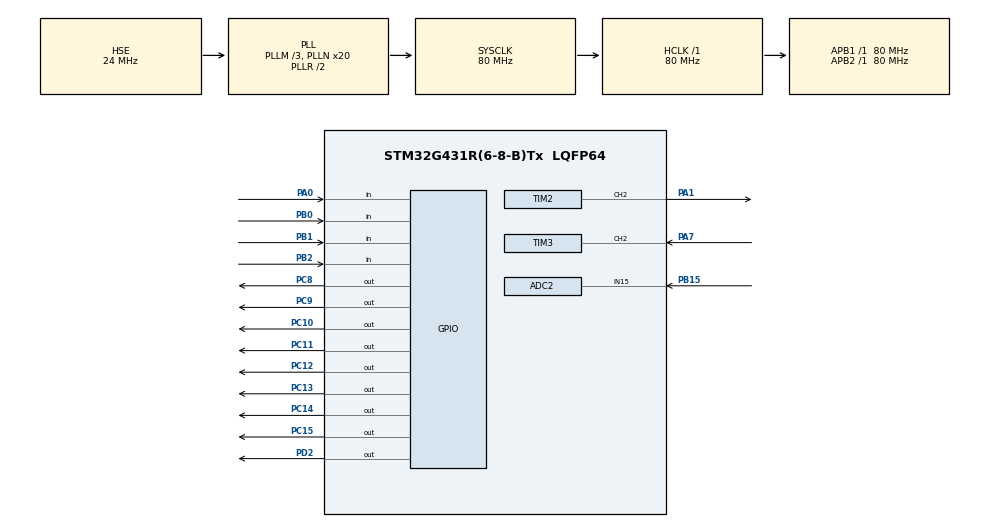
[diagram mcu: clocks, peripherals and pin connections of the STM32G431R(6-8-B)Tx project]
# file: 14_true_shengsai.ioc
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ADC2.Channel-0\#ChannelRegularConversion=ADC_CHANNEL_15
ADC2.ContinuousConvMode=ENABLE
ADC2.DMAContinuousRequests=ENABLE
ADC2.NbrOfConversionFlag=1
ADC2.OffsetNumber-0\#ChannelRegularConversion=ADC_OFFSET_NONE
ADC2.Rank-0\#ChannelRegularConversion=1
ADC2.SamplingTime-0\#ChannelRegularConversion=ADC_SAMPLETIME_2CYCLES_5
Dma.ADC2.0.Direction=DMA_PERIPH_TO_MEMORY
Dma.ADC2.0.EventEnable=DISABLE
Dma.ADC2.0.Instance=DMA1_Channel1
Dma.ADC2.0.MemDataAlignment=DMA_MDATAALIGN_HALFWORD
Dma.ADC2.0.MemInc=DMA_MINC_ENABLE
Dma.ADC2.0.Mode=DMA_CIRCULAR
Dma.ADC2.0.PeriphDataAlignment=DMA_PDATAALIGN_HALFWORD
Dma.ADC2.0.PeriphInc=DMA_PINC_DISABLE
Dma.ADC2.0.Polarity=HAL_DMAMUX_REQ_GEN_RISING
Dma.ADC2.0.Priority=DMA_PRIORITY_LOW
Dma.ADC2.0.RequestNumber=1
Dma.ADC2.0.SignalID=NONE
Dma.ADC2.0.SyncEnable=DISABLE
Dma.ADC2.0.SyncPolarity=HAL_DMAMUX_SYNC_NO_EVENT
Dma.ADC2.0.SyncRequestNumber=1
Dma.ADC2.0.SyncSignalID=NONE
Dma.Request0=ADC2
Mcu.Family=STM32G4
Mcu.Name=STM32G431R(6-8-B)Tx
Mcu.Package=LQFP64
NVIC.PriorityGroup=NVIC_PRIORITYGROUP_4
NVIC.TIM3_IRQn=true\:0\:0\:false\:false\:true\:true\:true\:true
NVIC.TIM4_IRQn=true\:0\:0\:false\:false\:true\:true\:true\:true
PA0.Signal=GPIO_Input
PA1.Signal=S_TIM2_CH2
PA13.Mode=Serial_Wire
PA13.Signal=SYS_JTMS-SWDIO
PA14.Mode=Serial_Wire
PA14.Signal=SYS_JTCK-SWCLK
PA7.Signal=S_TIM3_CH2
PB0.Signal=GPIO_Input
PB1.Signal=GPIO_Input
PB15.Mode=IN15-Single-Ended
PB15.Signal=ADC2_IN15
PB2.Signal=GPIO_Input
PC10.PinState=GPIO_PIN_SET
PC10.Signal=GPIO_Output
PC11.PinState=GPIO_PIN_SET
PC11.Signal=GPIO_Output
PC12.PinState=GPIO_PIN_SET
PC12.Signal=GPIO_Output
PC13.PinState=GPIO_PIN_SET
PC13.Signal=GPIO_Output
PC14-OSC32_IN.PinState=GPIO_PIN_SET
PC14-OSC32_IN.Signal=GPIO_Output
PC15-OSC32_OUT.PinState=GPIO_PIN_SET
PC15-OSC32_OUT.Signal=GPIO_Output
PC8.PinState=GPIO_PIN_SET
PC8.Signal=GPIO_Output
PC9.PinState=GPIO_PIN_SET
PC9.Signal=GPIO_Output
PD2.Signal=GPIO_Output
PF0-OSC_IN.Mode=HSE-External-Oscillator
PF0-OSC_IN.Signal=RCC_OSC_IN
PF1-OSC_OUT.Mode=HSE-External-Oscillator
PF1-OSC_OUT.Signal=RCC_OSC_OUT
ProjectManager.HeapSize=0x200
ProjectManager.StackSize=0x400
ProjectManager.TargetToolchain=MDK-ARM V5.32
RCC.ADC12Freq_Value=80000000
RCC.AHBFreq_Value=80000000
RCC.APB1Freq_Value=80000000
RCC.APB1TimFreq_Value=80000000
RCC.APB2Freq_Value=80000000
RCC.APB2TimFreq_Value=80000000
RCC.CortexFreq_Value=80000000
RCC.EXTERNAL_CLOCK_VALUE=12288000
RCC.HCLKFreq_Value=80000000
RCC.HSE_VALUE=24000000
RCC.HSI48_VALUE=48000000
RCC.HSI_VALUE=16000000
RCC.LSE_VALUE=32768
RCC.PLLM=RCC_PLLM_DIV3
RCC.PLLN=20
RCC.PLLSourceVirtual=RCC_PLLSOURCE_HSE
RCC.SYSCLKFreq_VALUE=80000000
RCC.SYSCLKSource=RCC_SYSCLKSOURCE_PLLCLK
RCC.USBFreq_Value=80000000
RCC.VCOOutputFreq_Value=160000000
SH.S_TIM2_CH2.0=TIM2_CH2,PWM Generation2 CH2
SH.S_TIM3_CH2.0=TIM3_CH2,Input_Capture2_from_TI2
TIM2.Channel-PWM\ Generation2\ CH2=TIM_CHANNEL_2
TIM2.PeriodNoDither=20000 - 1
TIM2.Prescaler=1 - 1
TIM2.PulseNoDither_2=10000
TIM3.Channel-Input_Capture2_from_TI2=TIM_CHANNEL_2
TIM3.Prescaler=80 - 1
TIM4.PeriodNoDither=10000 - 1
TIM4.Prescaler=80 - 1
VP_SYS_VS_DBSignals.Mode=DisableDeadBatterySignals
VP_TIM2_VS_ClockSourceINT.Mode=Internal
VP_TIM3_VS_ClockSourceINT.Mode=Internal
VP_TIM4_VS_ClockSourceINT.Mode=Internal
board=custom

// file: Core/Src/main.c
/* USER CODE BEGIN Header */
/**
  ******************************************************************************
  * @file           : main.c
  * @brief          : Main program body
  ******************************************************************************
  * @attention
  *
  * Copyright (c) 2025 STMicroelectronics.
  * All rights reserved.
  *
  * This software is licensed under terms that can be found in the LICENSE file
  * in the root directory of this software component.
  * If no LICENSE file comes with this software, it is provided AS-IS.
  *
  ******************************************************************************
  */
/* USER CODE END Header */
#include "main.h"
#include "adc.h"
#include "dma.h"
#include "tim.h"
#include "gpio.h"

/* USER CODE BEGIN PD */
extern void led_init(void);
extern void led_task(void);
extern void adc_init(void);
extern void adc_task(void);
extern void key_init(void);
extern void key_task(void);
extern void pwm_init(void);
extern void pwm_task(void);
extern void lcd_init(void);
extern void lcd_task(void);
extern void pwm_ic_task(void);

bool lcd_flag, adc_flag, pwm_flag;
/* USER CODE END PD */

void SystemClock_Config(void);

int main(void)
{

  /* MCU Configuration--------------------------------------------------------*/

  /* Reset of all peripherals, Initializes the Flash interface and the Systick. */
  HAL_Init();

  /* Configure the system clock */
  SystemClock_Config();

  /* Initialize all configured peripherals */
  MX_GPIO_Init();
  MX_DMA_Init();
  MX_ADC2_Init();
  MX_TIM2_Init();
  MX_TIM3_Init();
  MX_TIM4_Init();
  /* USER CODE BEGIN 2 */
	adc_init();

	key_init();

	pwm_init();

	lcd_init();

	led_init();
  /* USER CODE END 2 */

  /* Infinite loop */
  /* USER CODE BEGIN WHILE */
  while (1)
  {
	  if(lcd_flag == 1)
	  {
		  lcd_flag = 0;
		  lcd_task();
	  }

	  if(adc_flag == 1)
	  {
		  adc_flag = 0;
		  adc_task();
	  }

	  if(pwm_flag == 1)
	  {
		  pwm_flag = 0;
		  pwm_task();
	  }

	  led_task();
	  key_task();

    /* USER CODE END WHILE */

  }
}

void SystemClock_Config(void)
{
  RCC_OscInitTypeDef RCC_OscInitStruct = {0};
  RCC_ClkInitTypeDef RCC_ClkInitStruct = {0};

  /** Configure the main internal regulator output voltage
  */
  HAL_PWREx_ControlVoltageScaling(PWR_REGULATOR_VOLTAGE_SCALE1);

  /** Initializes the RCC Oscillators according to the specified parameters
  * in the RCC_OscInitTypeDef structure.
  */
  RCC_OscInitStruct.OscillatorType = RCC_OSCILLATORTYPE_HSE;
  RCC_OscInitStruct.HSEState = RCC_HSE_ON;
  RCC_OscInitStruct.PLL.PLLState = RCC_PLL_ON;
  RCC_OscInitStruct.PLL.PLLSource = RCC_PLLSOURCE_HSE;
  RCC_OscInitStruct.PLL.PLLM = RCC_PLLM_DIV3;
  RCC_OscInitStruct.PLL.PLLN = 20;
  RCC_OscInitStruct.PLL.PLLP = RCC_PLLP_DIV2;
  RCC_OscInitStruct.PLL.PLLQ = RCC_PLLQ_DIV2;
  RCC_OscInitStruct.PLL.PLLR = RCC_PLLR_DIV2;
  if (HAL_RCC_OscConfig(&RCC_OscInitStruct) != HAL_OK)
  {
    Error_Handler();
  }

  /** Initializes the CPU, AHB and APB buses clocks
  */
  RCC_ClkInitStruct.ClockType = RCC_CLOCKTYPE_HCLK|RCC_CLOCKTYPE_SYSCLK
                              |RCC_CLOCKTYPE_PCLK1|RCC_CLOCKTYPE_PCLK2;
  RCC_ClkInitStruct.SYSCLKSource = RCC_SYSCLKSOURCE_PLLCLK;
  RCC_ClkInitStruct.AHBCLKDivider = RCC_SYSCLK_DIV1;
  RCC_ClkInitStruct.APB1CLKDivider = RCC_HCLK_DIV1;
  RCC_ClkInitStruct.APB2CLKDivider = RCC_HCLK_DIV1;

  if (HAL_RCC_ClockConfig(&RCC_ClkInitStruct, FLASH_LATENCY_2) != HAL_OK)
  {
    Error_Handler();
  }
}

void Error_Handler(void)
{
  __disable_irq();
  while (1)
  {
  }
}
